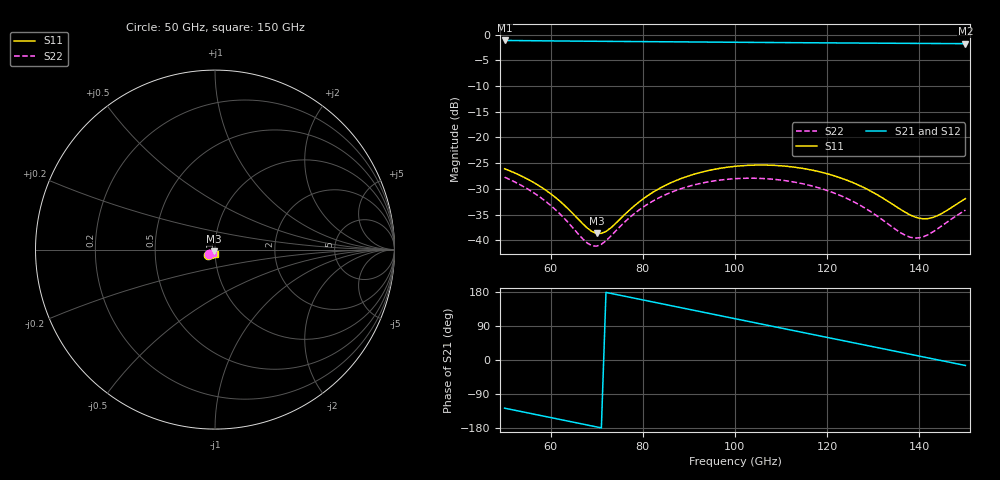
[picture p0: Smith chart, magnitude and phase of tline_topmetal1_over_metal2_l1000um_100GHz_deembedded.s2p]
! Created with skrf 2.0.1 (http://scikit-rf.org).
# GHz S DB R 50.0
!freq dBS11 angS11 dBS21 angS21 dBS12 angS12 dBS22 angS22
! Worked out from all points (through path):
!   101 points, 50 GHz to 150 GHz, reference 50 ohm
!   highest |S21| = -1.16 dB at 50 GHz (marker M1); lowest = -1.8 dB at 150 GHz (marker M2)
!   group delay of S21, straight-line fit = 6.87 ps
!   lowest |S11| = -38.7 dB at 70 GHz (marker M3), VSWR 1.02, Z = 49.4 - j0.968 ohm
!   |S11| at or under -10 dB: start of sweep to end of sweep
!   |S22| runs from -41.2 to -27.7 dB; largest |S21 - S12| = 9.9e-14
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50  -26.10 -140.3  -1.16 -127.1  -1.16 -127.1  -27.74 -145.0
55  -28.12 -150.4  -1.20 -139.5  -1.20 -139.5  -30.04 -156.1
59  -30.31 -156.0  -1.24 -149.4  -1.24 -149.4  -32.50 -162.4
63  -33.21 -156.9  -1.27 -159.3  -1.27 -159.3  -35.79 -163.1
67  -36.82 -145.9  -1.30 -169.2  -1.30 -169.2  -39.77 -148.7
69  -38.32 -131.8  -1.31 -174.2  -1.31 -174.2  -41.08 -131.3
70  -38.68 -122.6  -1.32 -176.7  -1.32 -176.7  -41.15 -121.0
72  -38.28 -104.0  -1.33 178.4  -1.33 178.4  -40.10 -103.2
78  -33.42 -79.9  -1.37 163.5  -1.37 163.5  -34.93 -86.8
84  -29.74 -82.4  -1.41 148.6  -1.41 148.6  -31.52 -93.1
92  -26.94 -95.1  -1.46 128.8  -1.46 128.8  -29.05 -109.0
100  -25.63 -110.5  -1.51 109.0  -1.51 109.0  -28.03 -127.0
108  -25.42 -126.2  -1.56 89.3  -1.56 89.3  -28.12 -145.2
112  -25.70 -133.7  -1.58 79.4  -1.58 79.4  -28.56 -153.9
117  -26.42 -142.5  -1.61 67.0  -1.61 67.0  -29.51 -164.1
126  -28.95 -154.4  -1.66 44.8  -1.66 44.8  -32.63 -177.7
134  -32.89 -153.0  -1.70 25.1  -1.70 25.1  -37.34 -173.5
138  -35.07 -140.7  -1.72 15.2  -1.72 15.2  -39.41 -155.3
140  -35.73 -130.3  -1.73 10.3  -1.73 10.3  -39.53 -142.5
142  -35.77 -118.5  -1.74 5.3  -1.74 5.3  -38.87 -131.0
145  -34.73 -103.4  -1.76 -2.1  -1.76 -2.1  -37.13 -119.9
150  -31.90 -91.6  -1.78 -14.4  -1.78 -14.4  -34.16 -115.5
